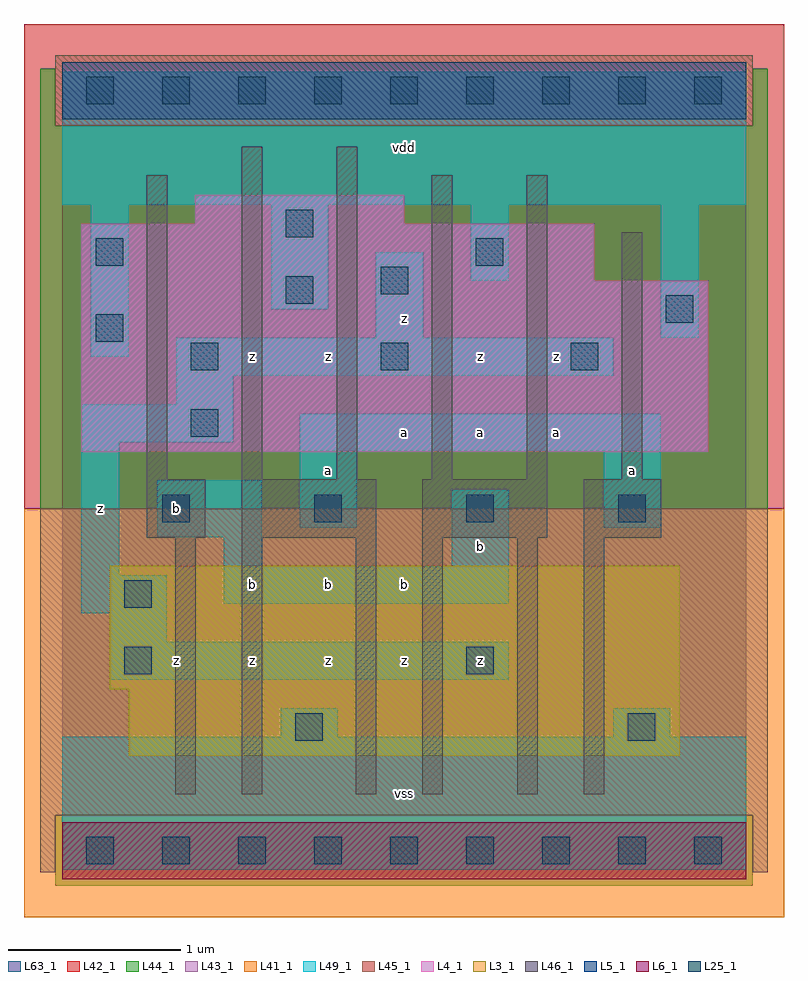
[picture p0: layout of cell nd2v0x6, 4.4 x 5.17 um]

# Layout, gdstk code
import gdstk
lib = gdstk.Library(unit=1e-6, precision=1e-09)
def R(c, l, rs):  # rectangles x0, y0, x1, y1
    for r in rs: c.add(gdstk.rectangle(r[:2], r[2:], *l))
def A(c, l, x, y, w, h, nx, ny, dx, dy):  # array of equal rectangles
    R(c, l, [(x+i*dx, y+j*dy, x+i*dx+w, y+j*dy+h) for i in range(nx) for j in range(ny)])
L3_1 = (3, 1)
L4_1 = (4, 1)
L5_1 = (5, 1)
L6_1 = (6, 1)
L25_1 = (25, 1)
L41_1 = (41, 1)
L42_1 = (42, 1)
L43_1 = (43, 1)
L44_1 = (44, 1)
L45_1 = (45, 1)
L46_1 = (46, 1)
L49_1 = (49, 1)
L63_1 = (63, 1)

nd2v0x6 = lib.new_cell('nd2v0x6')
R(nd2v0x6, L3_1, [(0.385,0.55,3.575,0.935), (0.275,0.935,3.575,1.65)])
R(nd2v0x6, L4_1, [(0.11,2.31,3.74,3.3), (0.11,3.3,3.08,3.63), (0.77,3.63,1.98,3.795)])
R(nd2v0x6, L5_1, [(0,4.235,3.96,4.565)])
R(nd2v0x6, L6_1, [(0,-0.165,3.96,0.165)])
A(nd2v0x6, L25_1, 0.14, -0.08, 0.16, 0.16, 9, 2, 0.44, 4.4)
A(nd2v0x6, L25_1, 0.58, 1.9, 0.16, 0.16, 4, 1, 0.88, 0)
A(nd2v0x6, L25_1, 0.745, 2.78, 0.16, 0.16, 3, 1, 1.1, 0)
R(nd2v0x6, L25_1, [(1.35,0.635,1.51,0.795), (3.275,0.635,3.435,0.795), (0.36,1.02,0.52,1.18), (2.34,1.02,2.5,1.18), (0.36,1.405,0.52,1.565), (0.745,2.395,0.905,2.555), (0.195,2.945,0.355,3.105), (3.495,3.055,3.655,3.215), (1.295,3.165,1.455,3.325), (1.845,3.22,2.005,3.38), (0.195,3.385,0.355,3.545), (2.395,3.385,2.555,3.545), (1.295,3.55,1.455,3.71)])
R(nd2v0x6, L41_1, [(-0.22,-0.385,4.18,1.98)])
R(nd2v0x6, L42_1, [(-0.22,1.98,4.18,4.785)])
R(nd2v0x6, L43_1, [(0,-0.165,3.96,0.165), (0.385,0.55,3.575,0.935), (0.275,0.935,3.575,1.65), (0.11,2.31,3.74,3.3), (0.11,3.3,3.08,3.63), (0.77,3.63,1.98,3.795), (0,4.235,3.96,4.565)])
R(nd2v0x6, L44_1, [(-0.04,-0.205,4,0.205), (-0.125,1.98,4.085,4.195), (-0.125,4.195,-0.04,4.525), (4,4.195,4.085,4.525)])
R(nd2v0x6, L45_1, [(-0.125,-0.125,-0.04,0.205), (4,-0.125,4.085,0.205), (-0.125,0.205,4.085,1.98), (-0.04,4.195,4,4.605)])
R(nd2v0x6, L46_1, [(0.655,0.325,0.775,1.81), (1.04,0.325,1.16,1.81), (1.7,0.325,1.82,1.81), (2.085,0.325,2.205,1.81), (2.635,0.325,2.755,1.81), (3.02,0.325,3.14,1.81), (0.49,1.81,0.83,2.15), (1.04,1.81,1.82,2.15), (2.085,1.81,2.81,2.15), (3.02,1.81,3.47,2.15), (0.49,2.15,0.61,3.91), (1.04,2.15,1.16,4.075), (1.59,2.15,1.71,4.075), (2.14,2.15,2.26,3.91), (2.69,2.15,2.81,3.91), (3.24,2.15,3.36,3.58)])
R(nd2v0x6, L49_1, [(0,-0.11,3.96,0.66), (1.265,0.66,1.595,0.825), (3.19,0.66,3.52,0.825), (0.275,0.99,2.585,1.21), (0.275,1.21,0.605,1.375), (0.11,1.375,0.605,1.595), (0.935,1.43,2.585,1.65), (0.11,1.595,0.33,2.365), (0.935,1.65,1.155,1.815), (2.255,1.65,2.585,2.09), (0.55,1.815,1.155,2.145), (1.375,1.87,1.705,2.31), (3.135,1.87,3.465,2.31), (1.375,2.31,3.465,2.53), (0.11,2.365,0.99,2.585), (0.66,2.585,0.99,2.75), (0.66,2.75,3.19,2.97), (0.165,2.86,0.385,3.74), (1.815,2.97,2.09,3.465), (3.465,2.97,3.685,3.74), (1.21,3.135,1.54,3.74), (2.365,3.3,2.585,3.74), (0,3.74,3.96,4.51)])
R(nd2v0x6, L63_1, [(0,0,3.96,4.4)])
nd2v0x6.add(gdstk.Label('z', (0.22,1.98), layer=49, texttype=1))
nd2v0x6.add(gdstk.Label('z', (0.66,1.1), layer=49, texttype=1))
nd2v0x6.add(gdstk.Label('b', (1.1,1.54), layer=49, texttype=1))
nd2v0x6.add(gdstk.Label('z', (1.1,1.1), layer=49, texttype=1))
nd2v0x6.add(gdstk.Label('b', (0.66,1.98), layer=49, texttype=1))
nd2v0x6.add(gdstk.Label('z', (1.1,2.86), layer=49, texttype=1))
nd2v0x6.add(gdstk.Label('vss', (1.98,0.33), layer=49, texttype=1))
nd2v0x6.add(gdstk.Label('b', (1.54,1.54), layer=49, texttype=1))
nd2v0x6.add(gdstk.Label('z', (1.54,1.1), layer=49, texttype=1))
nd2v0x6.add(gdstk.Label('b', (1.98,1.54), layer=49, texttype=1))
nd2v0x6.add(gdstk.Label('z', (1.98,1.1), layer=49, texttype=1))
nd2v0x6.add(gdstk.Label('a', (1.54,2.2), layer=49, texttype=1))
nd2v0x6.add(gdstk.Label('a', (1.98,2.42), layer=49, texttype=1))
nd2v0x6.add(gdstk.Label('z', (1.54,2.86), layer=49, texttype=1))
nd2v0x6.add(gdstk.Label('z', (1.98,3.08), layer=49, texttype=1))
nd2v0x6.add(gdstk.Label('vdd', (1.98,4.07), layer=49, texttype=1))
nd2v0x6.add(gdstk.Label('z', (2.42,1.1), layer=49, texttype=1))
nd2v0x6.add(gdstk.Label('b', (2.42,1.76), layer=49, texttype=1))
nd2v0x6.add(gdstk.Label('a', (2.42,2.42), layer=49, texttype=1))
nd2v0x6.add(gdstk.Label('a', (2.86,2.42), layer=49, texttype=1))
nd2v0x6.add(gdstk.Label('z', (2.86,2.86), layer=49, texttype=1))
nd2v0x6.add(gdstk.Label('z', (2.42,2.86), layer=49, texttype=1))
nd2v0x6.add(gdstk.Label('a', (3.3,2.2), layer=49, texttype=1))

lib.write_gds('nd2v0x6.gds')
